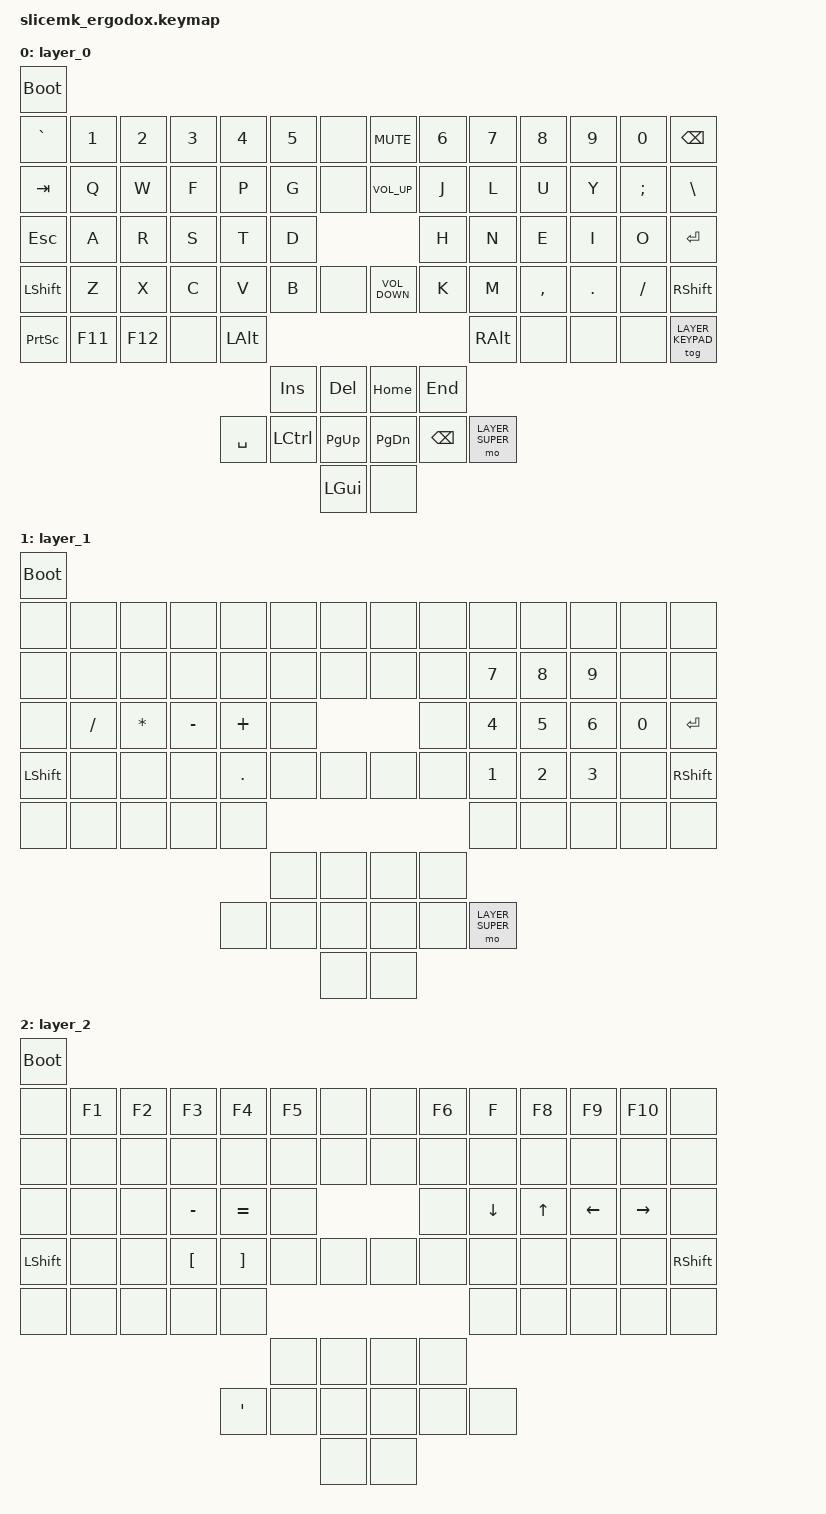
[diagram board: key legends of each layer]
#define LAYER_BASE 0
#define LAYER_KEYPAD 1
#define LAYER_SUPER 2

#include <behaviors.dtsi>
#include <dt-bindings/zmk/bt.h>
#include <dt-bindings/zmk/keys.h>
#include <dt-bindings/zmk/outputs.h>
#include <dt-bindings/zmk/pointing.h>
#include <dt-bindings/zmk/rgb.h>

/ {
	keymap {
		compatible = "zmk,keymap";
		layer_0 {
			bindings = <
				&bootloader
				&kp GRAVE       &kp NUMBER_1 &kp NUMBER_2 &kp NUMBER_3 &kp NUMBER_4 &kp NUMBER_5     &none        &kp C_MUTE        &kp NUMBER_6  &kp NUMBER_7    &kp NUMBER_8 &kp NUMBER_9 &kp NUMBER_0  &kp BACKSPACE
				&kp TAB         &kp Q        &kp W        &kp F        &kp P        &kp G            &none        &kp C_VOLUME_UP   &kp J         &kp L           &kp U        &kp Y        &kp SEMICOLON &kp BACKSLASH
				&kp ESCAPE      &kp A        &kp R        &kp S        &kp T        &kp D                                           &kp H         &kp N           &kp E        &kp I        &kp O         &kp RETURN
				&kp LEFT_SHIFT  &kp Z        &kp X        &kp C        &kp V        &kp B            &none        &kp C_VOLUME_DOWN &kp K         &kp M           &kp COMMA    &kp PERIOD   &kp SLASH     &kp RIGHT_SHIFT
				&kp PRINTSCREEN &kp F11      &kp F12      &none        &kp LEFT_ALT                                                               &kp RIGHT_ALT   &none        &none        &none         &tog LAYER_KEYPAD
				                                                                    &kp INSERT       &kp DELETE   &kp HOME          &kp END
				                                                       &kp SPACE    &kp LEFT_CONTROL &kp PAGE_UP  &kp PAGE_DOWN     &kp BACKSPACE &mo LAYER_SUPER
				                                                                                     &kp LEFT_GUI &none
			>;
		};
		layer_1 {
			bindings = <
				&bootloader
				&none          &none     &none        &none     &none      &none &none &none &none &none           &none        &none        &none        &none
				&none          &none     &none        &none     &none      &none &none &none &none &kp NUMBER_7    &kp NUMBER_8 &kp NUMBER_9 &none        &none
				&none          &kp SLASH &kp ASTERISK &kp MINUS &kp PLUS   &none             &none &kp NUMBER_4    &kp NUMBER_5 &kp NUMBER_6 &kp NUMBER_0 &kp RETURN
				&kp LEFT_SHIFT &none     &none        &none     &kp PERIOD &none &none &none &none &kp NUMBER_1    &kp NUMBER_2 &kp NUMBER_3 &none        &kp RIGHT_SHIFT
				&none          &none     &none        &none     &none                              &none           &none        &none        &none        &none
				                                                           &none &none &none &none
				                                                &none      &none &none &none &none &mo LAYER_SUPER
				                                                                 &none &none
			>;
		};
		layer_2 {
			bindings = <
				&bootloader
				&none          &kp F1 &kp F2 &kp F3           &kp F4            &kp F5 &none &none &kp F6 &kp F          &kp F8       &kp F9         &kp F10         &none
				&none          &none  &none  &none            &none             &none  &none &none &none  &none          &none        &none          &none           &none
				&none          &none  &none  &kp MINUS        &kp EQUAL         &none              &none  &kp DOWN_ARROW &kp UP_ARROW &kp LEFT_ARROW &kp RIGHT_ARROW &none
				&kp LEFT_SHIFT &none  &none  &kp LEFT_BRACKET &kp RIGHT_BRACKET &none  &none &none &none  &none          &none        &none          &none           &kp RIGHT_SHIFT
				&none          &none  &none  &none            &none                                       &none          &none        &none          &none           &none
				                                                                &none  &none &none &none
				                                              &kp SINGLE_QUOTE  &none  &none &none &none  &none
				                                                                       &none &none
			>;
		};
	};
};
